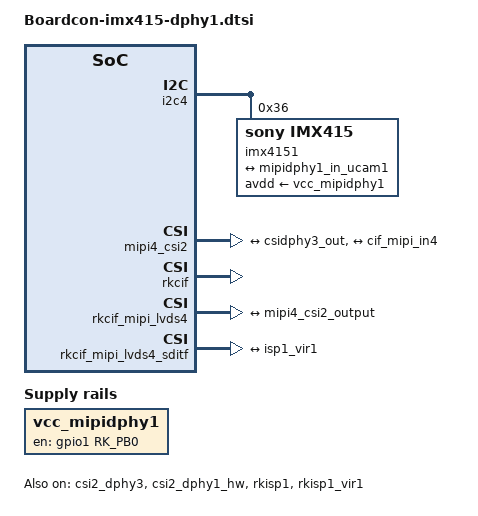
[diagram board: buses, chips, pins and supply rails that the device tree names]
// SPDX-License-Identifier: (GPL-2.0+ OR MIT)
/*
 * Copyright (c) 2021 Rockchip Electronics Co., Ltd.
 *
 */

/ {
	vcc_mipidphy1: vcc-mipidphy1-regulator {
		compatible = "regulator-fixed";
		gpio = <&gpio1 RK_PB0 GPIO_ACTIVE_HIGH>;
		pinctrl-names = "default";
		pinctrl-0 = <&mipidphy1_pwr>;
		regulator-name = "vcc_mipidphy1";
		enable-active-high;
	};
};

&csi2_dphy3 {
	status = "okay";

	ports {
		#address-cells = <1>;
		#size-cells = <0>;
		port@0 {
			reg = <0>;
			#address-cells = <1>;
			#size-cells = <0>;

			mipidphy1_in_ucam1: endpoint@1 {
				reg = <1>;
				remote-endpoint = <&imx415_out1>;
				data-lanes = <1 2 3 4>;
			};
		};
		port@1 {
			reg = <1>;
			#address-cells = <1>;
			#size-cells = <0>;

			csidphy3_out: endpoint@0 {
				reg = <0>;
				remote-endpoint = <&mipi4_csi2_input>;
			};
		};
	};
};



&csi2_dphy1_hw {
	status = "okay";
};


&i2c4{
	status = "okay";
	pinctrl-names = "default";
	pinctrl-0 = <&i2c4m3_xfer>;

	imx4151: imx4151@36 {
		compatible = "sony,imx415";
		reg = <0x36>;
		clocks = <&cru CLK_MIPI_CAMARAOUT_M3>;
		clock-names = "xvclk";
		pinctrl-names = "default";
		pinctrl-0 = <&mipim0_camera3_clk>;
		power-domains = <&power RK3588_PD_VI>;
		avdd-supply = <&vcc_mipidphy1>;
		rockchip,camera-module-index = <1>;
		rockchip,camera-module-facing = "front";
		rockchip,camera-module-name = "CMK-OT2022-PX1";
		rockchip,camera-module-lens-name = "IR0147-50IRC-8M-F20";
		port {
			imx415_out1: endpoint {
				remote-endpoint = <&mipidphy1_in_ucam1>;
				data-lanes = <1 2 3 4>;
			};
		};
	};
};

&mipi4_csi2 {
	status = "okay";

	ports {
		#address-cells = <1>;
		#size-cells = <0>;

		port@0 {
			reg = <0>;
			#address-cells = <1>;
			#size-cells = <0>;

			mipi4_csi2_input: endpoint@1 {
				reg = <1>;
				remote-endpoint = <&csidphy3_out>;
			};
		};

		port@1 {
			reg = <1>;
			#address-cells = <1>;
			#size-cells = <0>;

			mipi4_csi2_output: endpoint@0 {
				reg = <0>;
				remote-endpoint = <&cif_mipi_in4>;
			};
		};
	};
};

&pinctrl {
	cam1 {
		mipidphy1_pwr: mipidphy1-pwr {
			rockchip,pins =
				/* camera power en */
				<1 RK_PB0 RK_FUNC_GPIO &pcfg_pull_none>;
		};
	};
};

&rkcif {
	status = "okay";
};


&rkcif_mipi_lvds4 {
	status = "okay";

	port {
		cif_mipi_in4: endpoint {
			remote-endpoint = <&mipi4_csi2_output>;
		};
	};
};

&rkcif_mipi_lvds4_sditf {
	status = "okay";

	port {
		mipi4_lvds_sditf: endpoint {
			remote-endpoint = <&isp1_vir1>;
		};
	};
};


&rkcif_mmu {
	status = "okay";
};

&rkisp1 {
	status = "okay";
};

&isp1_mmu {
	status = "okay";
};

&rkisp1_vir1 {
	status = "okay";

	port {
		#address-cells = <1>;
		#size-cells = <0>;

		isp1_vir1: endpoint@0 {
			reg = <0>;
			remote-endpoint = <&mipi4_lvds_sditf>;
		};
	};
};
